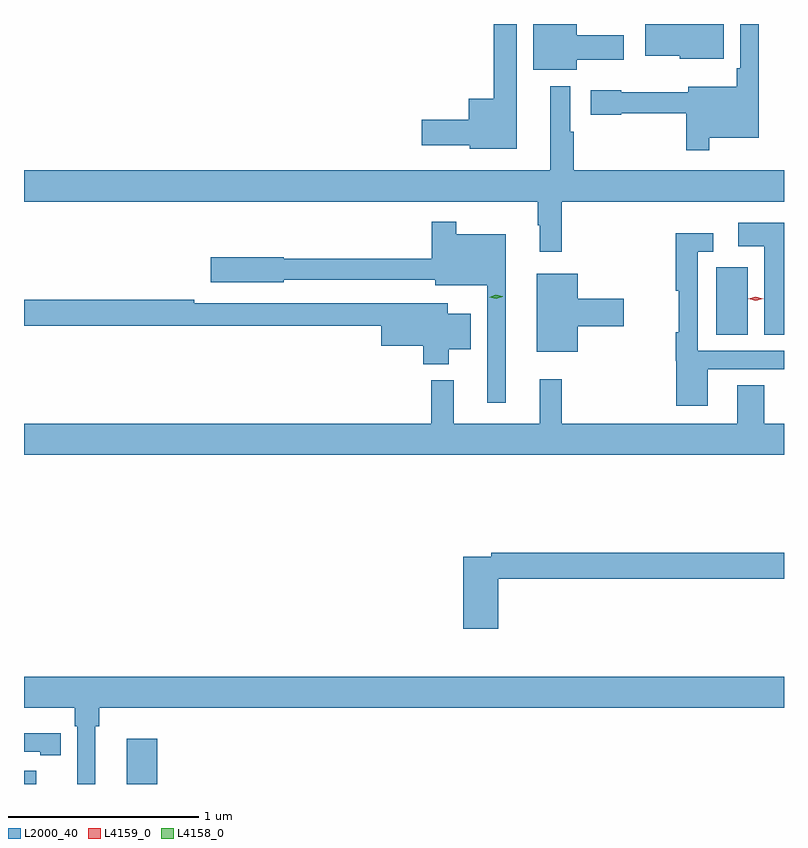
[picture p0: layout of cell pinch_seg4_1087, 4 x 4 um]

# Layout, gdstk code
import gdstk
lib = gdstk.Library(unit=1e-6, precision=1e-09)
def R(c, l, rs):  # rectangles x0, y0, x1, y1
    for r in rs: c.add(gdstk.rectangle(r[:2], r[2:], *l))
def P(c, l, *ps):  # polygons
    for p in ps: c.add(gdstk.Polygon(p, *l))
L2000_40 = (2000, 40)
L4158_0 = (4158, 0)
L4159_0 = (4159, 0)

pinch_seg4_1087 = lib.new_cell('pinch_seg4_1087')
R(pinch_seg4_1087, L2000_40, [(429.42,804.411,429.485,804.481), (429.962,804.411,430.121,804.649), (433.064,806.776,433.228,807.13)])
P(pinch_seg4_1087, L2000_40, [(433.027,807.812),(433.288,807.812),(433.288,808.411),(433.191,808.411),(433.191,808.177),(433.171,808.177),(433.171,808.081),(432.917,808.081),(432.917,808.052),(432.564,808.052),(432.564,808.063),(432.402,808.063),(432.402,807.934),(432.564,807.934),(432.564,807.942),(432.906,807.942),(432.906,807.747),(433.027,807.747)],
  [(433.102,808.411),(432.854,808.411),(432.854,808.41),(432.69,808.41),(432.69,808.244),(432.87,808.244),(432.87,808.229),(433.102,808.229)],
  [(432.013,808.411),(431.892,808.411),(431.892,808.018),(431.762,808.018),(431.762,807.908),(431.514,807.908),(431.514,807.773),(431.766,807.773),(431.766,807.755),(432.013,807.755)],
  [(432.328,808.223),(432.577,808.223),(432.577,808.353),(432.328,808.353),(432.328,808.411),(432.101,808.411),(432.101,808.169),(432.328,808.169)],
  [(432.251,807.476),(433.42,807.476),(433.42,807.64),(432.313,807.64),(432.313,807.845),(432.295,807.845),(432.295,808.084),(432.191,808.084),(432.191,807.64),(429.42,807.64),(429.42,807.476),(432.123,807.476),(432.123,807.353),(432.134,807.353),(432.134,807.213),(432.251,807.213)],
  [(431.956,807.304),(431.695,807.304),(431.695,807.37),(431.566,807.37),(431.566,807.175),(430.788,807.175),(430.788,807.183),(430.404,807.183),(430.404,807.053),(430.788,807.053),(430.788,807.066),(431.585,807.066),(431.585,807.035),(431.859,807.035),(431.859,806.418),(431.956,806.418)],
  [(433.42,807.364),(433.179,807.364),(433.179,807.242),(433.316,807.242),(433.316,806.776),(433.42,806.776)],
  [(433.018,806.595),(433.42,806.595),(433.42,806.691),(432.966,806.691),(432.966,807.213),(433.048,807.213),(433.048,807.31),(432.85,807.31),(432.85,807.006),(432.865,807.006),(432.865,806.788),(432.85,806.788),(432.85,806.638),(432.854,806.638),(432.854,806.402),(433.018,806.402)],
  [(432.334,806.819),(432.577,806.819),(432.577,806.966),(432.334,806.966),(432.334,807.097),(432.119,807.097),(432.119,806.687),(432.334,806.687)],
  [(431.656,806.699),(431.77,806.699),(431.77,806.887),(431.65,806.887),(431.65,806.941),(431.404,806.941),(431.404,806.94),(430.316,806.94),(430.316,806.96),(429.42,806.96),(429.42,806.824),(431.3,806.824),(431.3,806.717),(431.522,806.717),(431.522,806.621),(431.656,806.621)],
  [(433.42,806.308),(433.315,806.308),(433.315,806.51),(433.175,806.51),(433.175,806.308),(432.251,806.308),(432.251,806.542),(432.134,806.542),(432.134,806.308),(431.681,806.308),(431.681,806.536),(431.563,806.536),(431.563,806.308),(429.42,806.308),(429.42,806.144),(433.42,806.144)],
  [(431.915,805.492),(433.42,805.492),(433.42,805.628),(431.878,805.628),(431.878,805.608),(431.732,805.608),(431.732,805.227),(431.915,805.227)],
  [(429.796,804.716),(429.815,804.716),(429.815,804.812),(433.42,804.812),(433.42,804.976),(429.42,804.976),(429.42,804.812),(429.686,804.812),(429.686,804.716),(429.699,804.716),(429.699,804.411),(429.796,804.411)],
  [(429.614,804.678),(429.506,804.678),(429.506,804.679),(429.42,804.679),(429.42,804.582),(429.506,804.582),(429.506,804.562),(429.614,804.562)])
P(pinch_seg4_1087, L4158_0, [(431.905,806.965),(431.869,806.973),(431.869,806.973),(431.869,806.973),(431.904,806.985),(431.94,806.977),(431.94,806.977),(431.94,806.976)])
P(pinch_seg4_1087, L4159_0, [(433.272,806.955),(433.232,806.965),(433.231,806.965),(433.232,806.965),(433.272,806.975),(433.312,806.965),(433.312,806.965),(433.312,806.965)])

lib.write_gds('pinch_seg4_1087.gds')
